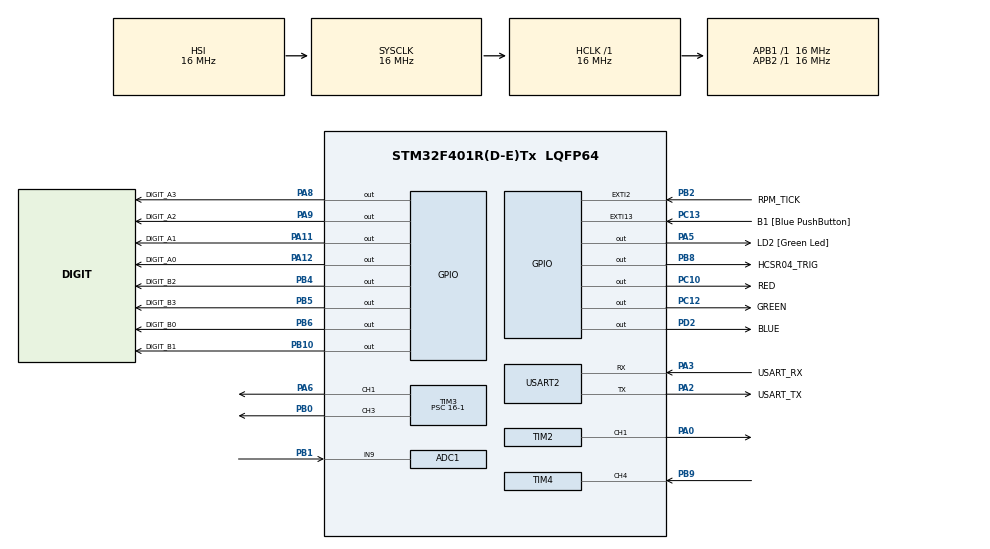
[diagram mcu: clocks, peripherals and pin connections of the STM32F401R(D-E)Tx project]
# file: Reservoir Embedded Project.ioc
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ADC1.Channel-0\#ChannelRegularConversion=ADC_CHANNEL_9
ADC1.NbrOfConversionFlag=1
ADC1.Rank-0\#ChannelRegularConversion=1
ADC1.Resolution=ADC_RESOLUTION_8B
ADC1.SamplingTime-0\#ChannelRegularConversion=ADC_SAMPLETIME_3CYCLES
ADC1.ScanConvMode=ENABLE
ADC1.master=1
Mcu.Family=STM32F4
Mcu.Name=STM32F401R(D-E)Tx
Mcu.Package=LQFP64
NVIC.EXTI15_10_IRQn=true\:0\:0\:false\:false\:true\:true\:true\:true
NVIC.EXTI2_IRQn=true\:0\:0\:false\:false\:true\:true\:true\:true
NVIC.PriorityGroup=NVIC_PRIORITYGROUP_4
NVIC.TIM4_IRQn=true\:0\:0\:false\:false\:true\:true\:true\:true
NVIC.TIM5_IRQn=true\:0\:0\:false\:false\:true\:true\:true\:true
NVIC.USART2_IRQn=true\:0\:0\:false\:false\:true\:true\:true\:true
PA0-WKUP.Signal=S_TIM2_CH1_ETR
PA11.GPIO_Label=DIGIT_A1
PA11.Signal=GPIO_Output
PA12.GPIO_Label=DIGIT_A0
PA12.Signal=GPIO_Output
PA13.GPIO_Label=TMS
PA13.Mode=Trace_Asynchronous_SW
PA13.Signal=SYS_JTMS-SWDIO
PA14.GPIO_Label=TCK
PA14.Mode=Trace_Asynchronous_SW
PA14.Signal=SYS_JTCK-SWCLK
PA2.GPIO_Label=USART_TX
PA2.GPIO_Mode=GPIO_MODE_AF_PP
PA2.GPIO_PuPd=GPIO_NOPULL
PA2.GPIO_Speed=GPIO_SPEED_FREQ_LOW
PA2.Mode=Asynchronous
PA2.Signal=USART2_TX
PA3.GPIO_Label=USART_RX
PA3.GPIO_Mode=GPIO_MODE_AF_PP
PA3.GPIO_PuPd=GPIO_NOPULL
PA3.GPIO_Speed=GPIO_SPEED_FREQ_LOW
PA3.Mode=Asynchronous
PA3.Signal=USART2_RX
PA5.GPIO_Label=LD2 [Green Led]
PA5.GPIO_Mode=GPIO_MODE_OUTPUT_PP
PA5.GPIO_PuPd=GPIO_NOPULL
PA5.GPIO_Speed=GPIO_SPEED_FREQ_LOW
PA5.Signal=GPIO_Output
PA6.Signal=S_TIM3_CH1
PA8.GPIO_Label=DIGIT_A3
PA8.Signal=GPIO_Output
PA9.GPIO_Label=DIGIT_A2
PA9.Signal=GPIO_Output
PB0.Signal=S_TIM3_CH3
PB1.Signal=ADCx_IN9
PB10.GPIO_Label=DIGIT_B1
PB10.Signal=GPIO_Output
PB2.GPIO_Label=RPM_TICK
PB2.Signal=GPXTI2
PB3.GPIO_Label=SWO
PB3.Mode=Trace_Asynchronous_SW
PB3.Signal=SYS_JTDO-SWO
PB4.GPIO_Label=DIGIT_B2
PB4.Signal=GPIO_Output
PB5.GPIO_Label=DIGIT_B3
PB5.Signal=GPIO_Output
PB6.GPIO_Label=DIGIT_B0
PB6.Signal=GPIO_Output
PB8.GPIO_Label=HCSR04_TRIG
PB8.Signal=GPIO_Output
PB9.Signal=S_TIM4_CH4
PC10.GPIO_Label=RED
PC10.Signal=GPIO_Output
PC12.GPIO_Label=GREEN
PC12.Signal=GPIO_Output
PC13-ANTI_TAMP.GPIO_Label=B1 [Blue PushButton]
PC13-ANTI_TAMP.GPIO_ModeDefaultEXTI=GPIO_MODE_IT_FALLING
PC13-ANTI_TAMP.GPIO_PuPd=GPIO_NOPULL
PC13-ANTI_TAMP.Signal=GPXTI13
PC14-OSC32_IN.Mode=LSE-External-Oscillator
PC14-OSC32_IN.Signal=RCC_OSC32_IN
PC15-OSC32_OUT.Mode=LSE-External-Oscillator
PC15-OSC32_OUT.Signal=RCC_OSC32_OUT
PD2.GPIO_Label=BLUE
PD2.Signal=GPIO_Output
PH0\ -\ OSC_IN.Mode=HSE-External-Clock-Source
PH0\ -\ OSC_IN.Signal=RCC_OSC_IN
PH1\ -\ OSC_OUT.Mode=HSE-External-Clock-Source
PH1\ -\ OSC_OUT.Signal=RCC_OSC_OUT
ProjectManager.HeapSize=0x200
ProjectManager.StackSize=0x400
ProjectManager.TargetToolchain=STM32CubeIDE
RCC.48MHZClocksFreq_Value=48000000
RCC.AHBFreq_Value=16000000
RCC.APB1Freq_Value=16000000
RCC.APB1TimFreq_Value=16000000
RCC.APB2Freq_Value=16000000
RCC.APB2TimFreq_Value=16000000
RCC.CortexFreq_Value=16000000
RCC.HCLKFreq_Value=16000000
RCC.HSE_VALUE=8000000
RCC.HSI_VALUE=16000000
RCC.PLLN=336
RCC.PLLP=RCC_PLLP_DIV4
RCC.PLLQ=7
RCC.SYSCLKFreq_VALUE=16000000
RCC.VCOOutputFreq_Value=336000000
SH.ADCx_IN9.0=ADC1_IN9,IN9
SH.S_TIM2_CH1_ETR.0=TIM2_CH1,PWM Generation1 CH1
SH.S_TIM3_CH1.0=TIM3_CH1,PWM Generation1 CH1
SH.S_TIM3_CH3.0=TIM3_CH3,PWM Generation3 CH3
SH.S_TIM4_CH4.0=TIM4_CH4,Input_Capture4_from_TI4
TIM2.AutoReloadPreload=TIM_AUTORELOAD_PRELOAD_ENABLE
TIM2.Channel-PWM\ Generation1\ CH1=TIM_CHANNEL_1
TIM2.Period=20000-1
TIM2.Prescaler=16-1
TIM3.AutoReloadPreload=TIM_AUTORELOAD_PRELOAD_ENABLE
TIM3.Channel-PWM\ Generation1\ CH1=TIM_CHANNEL_1
TIM3.Channel-PWM\ Generation3\ CH3=TIM_CHANNEL_3
TIM3.Period=2000-1
TIM3.Prescaler=16-1
TIM3.Pulse-PWM\ Generation1\ CH1=1200-1
TIM4.Channel-Input_Capture4_from_TI4=TIM_CHANNEL_4
TIM4.ICPolarity_CH4=TIM_INPUTCHANNELPOLARITY_BOTHEDGE
TIM4.Period=65536-1
TIM4.Prescaler=16-1
TIM5.AutoReloadPreload=TIM_AUTORELOAD_PRELOAD_ENABLE
TIM5.Period=12000-1
TIM5.Prescaler=16000-1
USART2.VirtualMode=VM_ASYNC
VP_TIM2_VS_ClockSourceINT.Mode=Internal
VP_TIM3_VS_ClockSourceINT.Mode=Internal
VP_TIM4_VS_ClockSourceINT.Mode=Internal
VP_TIM5_VS_ClockSourceINT.Mode=Internal
board=NUCLEO-F401RE

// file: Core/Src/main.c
/* USER CODE BEGIN Header */
/**
 ******************************************************************************
 * @file    main.c
 * @brief   Main program body
 ******************************************************************************
 *
 * STM32 IRRIGATION CONTROLLER
 * ---------------------------
 * Embedded controller for an irrigation system. Manages a single pump
 * and servo-driven distributor to fill a reservoir from an underground spring
 * and irrigate three terraced zones at different elevations over a 24-hour
 * cycle.
 *
 * Target: STM32 Nucleo-F401RE (ARM Cortex-M4, 84 MHz)
 *
 *
 * SYSTEM OVERVIEW
 * ---------------
 * The system runs as a two-mode state machine:
 *
 *   SETUP MODE:  Triggered by reset (black button). User configures pipeline
 *                assignments, PWM speed options, and start/stop hours for
 *                each of 4 pipelines (1 inlet + 3 zones) over UART. Mode LED
 *                flashes; system waits for B1 (blue button) to advance.
 *
 *   RUN MODE:    Triggered by B1. Scaled wall clock starts at hour 0 and
 *                advances 300x faster than real time. Each hour, the active pipeline
 *                is selected from the schedule, the servo and RGB LED update, the motor
 *                drives at the configured PWM, and reservoir depth + RPM
 *                are sampled and logged to UART. Halts at hour 24 or on a
 *                reservoir-empty fault.
 *
 * PERIPHERAL MAP
 * --------------
 *   TIM2 CH1   - Servo PWM (50 Hz, 1-2 ms pulse width)
 *   TIM3 CH1   - DC motor PWM, forward direction (via L9110)
 *   TIM3 CH3   - DC motor PWM, reverse direction (via L9110, inlet only)
 *   TIM4 CH4   - HC-SR04 echo input capture (both edges)
 *   TIM5       - Scaled wall-clock tick (12 s real = 1 simulated hour)
 *   ADC1 CH9   - Potentiometer (8-bit) for manual inlet speed control
 *   USART2     - Terminal I/O at 115200 baud, 8N1
 *   EXTI       - RPM_TICK pin: optical encoder pulse counter
 *   GPIO       - 7-segment digit drive (PA + PB), RGB LED (PC + PD),
 *                LD2 mode LED, B1 user button, HC-SR04 trigger
 *
 ******************************************************************************
/* USER CODE END Header */
#include "main.h"

/* USER CODE BEGIN Includes */
#include <stdio.h>
#include <string.h>
/* USER CODE END Includes */

/* USER CODE BEGIN PTD */
#define LED_RED_ON()     HAL_GPIO_WritePin(RED_GPIO_Port, RED_Pin, GPIO_PIN_SET)
#define LED_RED_OFF()    HAL_GPIO_WritePin(RED_GPIO_Port, RED_Pin, GPIO_PIN_RESET)
#define LED_GREEN_ON()   HAL_GPIO_WritePin(GREEN_GPIO_Port, GREEN_Pin, GPIO_PIN_SET)
#define LED_GREEN_OFF()  HAL_GPIO_WritePin(GREEN_GPIO_Port, GREEN_Pin, GPIO_PIN_RESET)
#define LED_BLUE_ON()    HAL_GPIO_WritePin(BLUE_GPIO_Port, BLUE_Pin, GPIO_PIN_SET)
#define LED_BLUE_OFF()   HAL_GPIO_WritePin(BLUE_GPIO_Port, BLUE_Pin, GPIO_PIN_RESET)
/* USER CODE END PTD */

/* USER CODE BEGIN PD */

//Single byte to store UART input
uint8_t byte = 0;

/* USER CODE END PD */

ADC_HandleTypeDef hadc1;

TIM_HandleTypeDef htim2;
TIM_HandleTypeDef htim3;
TIM_HandleTypeDef htim4;
TIM_HandleTypeDef htim5;

UART_HandleTypeDef huart2;

/* USER CODE BEGIN PV */
char msg[100];          // UART message buffer

//Pipeline Variables
int pipeA = 0;
int pipeB = 0;
int pipeC = 0;
int pipeD = 0;

//Pump PWN Variables
int pwmA = 0;
int pwmB = 0;
int pwmC = 0;
int pwmD = 0;

//First hour variables
int firstA = 0;
int firstB = 0;
int firstC = 0;
int firstD = 0;

//Last hour variables
int lastA = 0;
int lastB = 0;
int lastC = 0;
int lastD = 0;

char dig10 = 0;
char dig1 = 0;

uint8_t txd_msg_buffer[64] = {0};

volatile uint8_t clock_hours = 0;
volatile uint8_t wall_clock_hr_update_flag = 0;

uint16_t servo_angle_0 = 500; // Pipeline A - 0 degrees
uint16_t servo_angle_1 = 1000; // Pipeline B - 45 degrees
uint16_t servo_angle_2 = 1500; // Pipeline C - 90 degrees
uint16_t servo_angle_3 = 2000; // Pipeline D - 135 degrees

uint16_t motor_pwm_values[4] = {0, 1400, 1700, 2000}; // Adjust for motor speed levels
volatile uint32_t rpm_tick_count = 0;
volatile uint32_t measured_rpm = 0;

/* USER CODE END PV */

void SystemClock_Config(void);
static void MX_GPIO_Init(void);
static void MX_USART2_UART_Init(void);
static void MX_ADC1_Init(void);
static void MX_TIM2_Init(void);
static void MX_TIM3_Init(void);
static void MX_TIM4_Init(void);
static void MX_TIM5_Init(void);
/* USER CODE BEGIN PFP */
void Enter_Setup_Mode(void);
void Enter_Run_Mode(void);
int Measure_Distance(void);
void HCSR04_Trigger(void);
void DIGITS_Display(uint8_t DIGIT_A, uint8_t DIGIT_B);
void RGB_SetColor(uint8_t pipeline);
static void UpdateMotor(uint8_t current_pipeline, uint8_t active_pwm);
void Resevoir_Empty(void);
/* USER CODE END PFP */

/* USER CODE BEGIN 0 */
uint8_t rcv_intv_flag = 0;

volatile uint8_t hcsr04_Rx_flag = 0;
volatile uint8_t first_edge = 0;
volatile uint16_t time_edge1 = 0;
volatile uint16_t time_edge2 = 0;

float distance_cm = 0;
float distance_percent = 0;

//ENTERING SETUP MODE
void Enter_Setup_Mode(void)
{
    LED_BLUE_OFF();
    LED_GREEN_OFF();
    LED_RED_OFF();

    DIGITS_Display(0,0);

    TIM3 -> CCR1 = 0;
	TIM3 -> CCR3 = 0;

    HAL_UART_Transmit(&huart2, (uint8_t*)"\r\n=== SETUP MODE ===\r\n", 24, 1000);
    HAL_UART_Transmit(&huart2, (uint8_t*)"Enter SETUP Parameters:\r\n", 26, 1000);

    // Ask for Pipeline and PWM inputs ----------------------------------------
    sprintf((char*)txd_msg_buffer,"\r\nPipeline A (options 0 to 3): ");
    rcv_intv_flag = 0;
    HAL_UART_Receive_IT(&huart2, &byte, 1);
    HAL_UART_Transmit(&huart2, txd_msg_buffer, strlen((char*)txd_msg_buffer), 1000);
    while (rcv_intv_flag == 0) {}
    pipeA = byte - '0';

    sprintf((char*)txd_msg_buffer,"\r\nPump pwm A (options 0 to 3): ");
    rcv_intv_flag = 0;
    HAL_UART_Receive_IT(&huart2, &byte, 1);
    HAL_UART_Transmit(&huart2, txd_msg_buffer, strlen((char*)txd_msg_buffer), 1000);
    while (rcv_intv_flag == 0) {}
    pwmA = byte - '0';

    sprintf((char*)txd_msg_buffer,"\r\nPipeline B (options 0 to 3): ");
    rcv_intv_flag = 0;
    HAL_UART_Receive_IT(&huart2, &byte, 1);
    HAL_UART_Transmit(&huart2, txd_msg_buffer, strlen((char*)txd_msg_buffer), 1000);
    while (rcv_intv_flag == 0) {}
    pipeB = byte - '0';

    sprintf((char*)txd_msg_buffer,"\r\nPump pwm B (options 0 to 3): ");
    rcv_intv_flag = 0;
    HAL_UART_Receive_IT(&huart2, &byte, 1);
    HAL_UART_Transmit(&huart2, txd_msg_buffer, strlen((char*)txd_msg_buffer), 1000);
    while (rcv_intv_flag == 0) {}
    pwmB = byte - '0';

    sprintf((char*)txd_msg_buffer,"\r\nPipeline C (options 0 to 3): ");
    rcv_intv_flag = 0;
    HAL_UART_Receive_IT(&huart2, &byte, 1);
    HAL_UART_Transmit(&huart2, txd_msg_buffer, strlen((char*)txd_msg_buffer), 1000);
    while (rcv_intv_flag == 0) {}
    pipeC = byte - '0';

    sprintf((char*)txd_msg_buffer,"\r\nPump pwm C (options 0 to 3): ");
    rcv_intv_flag = 0;
    HAL_UART_Receive_IT(&huart2, &byte, 1);
    HAL_UART_Transmit(&huart2, txd_msg_buffer, strlen((char*)txd_msg_buffer), 1000);
    while (rcv_intv_flag == 0) {}
    pwmC = byte - '0';

    sprintf((char*)txd_msg_buffer,"\r\nPipeline D (options 0 to 3): ");
    rcv_intv_flag = 0;
    HAL_UART_Receive_IT(&huart2, &byte, 1);
    HAL_UART_Transmit(&huart2, txd_msg_buffer, strlen((char*)txd_msg_buffer), 1000);
    while (rcv_intv_flag == 0) {}
    pipeD = byte - '0';

    sprintf((char*)txd_msg_buffer,"\r\nPump pwm D (options 0 to 3): ");
    rcv_intv_flag = 0;
    HAL_UART_Receive_IT(&huart2, &byte, 1);
    HAL_UART_Transmit(&huart2, txd_msg_buffer, strlen((char*)txd_msg_buffer), 1000);
    while (rcv_intv_flag == 0) {}
    pwmD = byte - '0';

    //--------------------------------------------------------------------------------------

    //Ask for first and last hour of each pipeline
    sprintf((char*)txd_msg_buffer, "\r\nPipeline 0 Pump FIRST HOUR (options: 00 to 23): ");
    rcv_intv_flag = 0;
	HAL_UART_Receive_IT(&huart2, &byte, 1);
	HAL_UART_Transmit(&huart2, txd_msg_buffer, strlen((char*)txd_msg_buffer), 1000);
	while (rcv_intv_flag == 0) {}
	dig10 = byte;
	rcv_intv_flag = 0;
	rcv_intv_flag = 0;
	HAL_UART_Receive_IT(&huart2, &byte, 1);
	while (rcv_intv_flag == 0) {}
	dig1 = byte;
	rcv_intv_flag = 0;

	firstA = (dig10-'0')*10 + (dig1 - '0');

    sprintf((char*)txd_msg_buffer, "\r\nPipeline 0 Pump LAST HOUR (options: 00 to 23): ");
    rcv_intv_flag = 0;
	HAL_UART_Receive_IT(&huart2, &byte, 1);
	HAL_UART_Transmit(&huart2, txd_msg_buffer, strlen((char*)txd_msg_buffer), 1000);
	while (rcv_intv_flag == 0) {}
	dig10 = byte;
	rcv_intv_flag = 0;
	rcv_intv_flag = 0;
	HAL_UART_Receive_IT(&huart2, &byte, 1);
	while (rcv_intv_flag == 0) {}
	dig1 = byte;
	rcv_intv_flag = 0;

	lastA = (dig10-'0')*10 + (dig1 - '0');

    sprintf((char*)txd_msg_buffer, "\r\nPipeline 1 Pump FIRST HOUR (options: 00 to 23): ");
    rcv_intv_flag = 0;
	HAL_UART_Receive_IT(&huart2, &byte, 1);
	HAL_UART_Transmit(&huart2, txd_msg_buffer, strlen((char*)txd_msg_buffer), 1000);
	while (rcv_intv_flag == 0) {}
	dig10 = byte;
	rcv_intv_flag = 0;
	rcv_intv_flag = 0;
	HAL_UART_Receive_IT(&huart2, &byte, 1);
	while (rcv_intv_flag == 0) {}
	dig1 = byte;
	rcv_intv_flag = 0;

	firstB = (dig10-'0')*10 + (dig1 - '0');

    sprintf((char*)txd_msg_buffer, "\r\nPipeline 1 Pump LAST HOUR (options: 00 to 23): ");
    rcv_intv_flag = 0;
	HAL_UART_Receive_IT(&huart2, &byte, 1);
	HAL_UART_Transmit(&huart2, txd_msg_buffer, strlen((char*)txd_msg_buffer), 1000);
	while (rcv_intv_flag == 0) {}
	dig10 = byte;
	rcv_intv_flag = 0;
	rcv_intv_flag = 0;
	HAL_UART_Receive_IT(&huart2, &byte, 1);
	while (rcv_intv_flag == 0) {}
	dig1 = byte;
	rcv_intv_flag = 0;

	lastB = (dig10-'0')*10 + (dig1 - '0');

	sprintf((char*)txd_msg_buffer, "\r\nPipeline 2 Pump FIRST HOUR (options: 00 to 23): ");
    rcv_intv_flag = 0;
	HAL_UART_Receive_IT(&huart2, &byte, 1);
	HAL_UART_Transmit(&huart2, txd_msg_buffer, strlen((char*)txd_msg_buffer), 1000);
	while (rcv_intv_flag == 0) {}
	dig10 = byte;
	rcv_intv_flag = 0;
	rcv_intv_flag = 0;
	HAL_UART_Receive_IT(&huart2, &byte, 1);
	while (rcv_intv_flag == 0) {}
	dig1 = byte;
	rcv_intv_flag = 0;

	firstC = (dig10-'0')*10 + (dig1 - '0');

	sprintf((char*)txd_msg_buffer, "\r\nPipeline 2 Pump LAST HOUR (options: 00 to 23): ");
    rcv_intv_flag = 0;
	HAL_UART_Receive_IT(&huart2, &byte, 1);
	HAL_UART_Transmit(&huart2, txd_msg_buffer, strlen((char*)txd_msg_buffer), 1000);
	while (rcv_intv_flag == 0) {}
	dig10 = byte;
	rcv_intv_flag = 0;
	rcv_intv_flag = 0;
	HAL_UART_Receive_IT(&huart2, &byte, 1);
	while (rcv_intv_flag == 0) {}
	dig1 = byte;
	rcv_intv_flag = 0;

	lastC = (dig10-'0')*10 + (dig1 - '0');

	sprintf((char*)txd_msg_buffer, "\r\nPipeline 3 Pump FIRST HOUR (options: 00 to 23): ");
    rcv_intv_flag = 0;
	HAL_UART_Receive_IT(&huart2, &byte, 1);
	HAL_UART_Transmit(&huart2, txd_msg_buffer, strlen((char*)txd_msg_buffer), 1000);
	while (rcv_intv_flag == 0) {}
	dig10 = byte;
	rcv_intv_flag = 0;
	rcv_intv_flag = 0;
	HAL_UART_Receive_IT(&huart2, &byte, 1);
	while (rcv_intv_flag == 0) {}
	dig1 = byte;
	rcv_intv_flag = 0;

	firstD = (dig10-'0')*10 + (dig1 - '0');

	sprintf((char*)txd_msg_buffer, "\r\nPipeline 3 Pump LAST HOUR (options: 00 to 23): ");
    rcv_intv_flag = 0;
	HAL_UART_Receive_IT(&huart2, &byte, 1);
	HAL_UART_Transmit(&huart2, txd_msg_buffer, strlen((char*)txd_msg_buffer), 1000);
	while (rcv_intv_flag == 0) {}
	dig10 = byte;
	rcv_intv_flag = 0;
	rcv_intv_flag = 0;
	HAL_UART_Receive_IT(&huart2, &byte, 1);
	while (rcv_intv_flag == 0) {}
	dig1 = byte;
	rcv_intv_flag = 0;

	lastD = (dig10-'0')*10 + (dig1 - '0');

	//------------------------------------------------------------------------
	//Output all the information and wait for user to press blue button
	sprintf((char*)txd_msg_buffer, "\t\n\nPrinting SETUP Parameters\n\n");
	HAL_UART_Transmit(&huart2, txd_msg_buffer, strlen((char*)txd_msg_buffer), 1000);

	sprintf((char*)txd_msg_buffer, "\n\rCURRENT WALL CLOCK HOUR 0\n");
	HAL_UART_Transmit(&huart2, txd_msg_buffer, strlen((char*)txd_msg_buffer), 1000);

	sprintf((char*)txd_msg_buffer, "\n\rPipeline: %d ", pipeA);
	HAL_UART_Transmit(&huart2, txd_msg_buffer, strlen((char*)txd_msg_buffer), 1000);

	sprintf((char*)txd_msg_buffer, "Pump PWM: %d ", pwmA);
	HAL_UART_Transmit(&huart2, txd_msg_buffer, strlen((char*)txd_msg_buffer), 1000);

	sprintf((char*)txd_msg_buffer, "Pump FIRST Hour: %d Pump LAST Hour %d\n", firstA, lastA);
	HAL_UART_Transmit(&huart2, txd_msg_buffer, strlen((char*)txd_msg_buffer), 1000);

	sprintf((char*)txd_msg_buffer, "\n\rPipeline: %d ", pipeB);
	HAL_UART_Transmit(&huart2, txd_msg_buffer, strlen((char*)txd_msg_buffer), 1000);

	sprintf((char*)txd_msg_buffer, "Pump PWM: %d ", pwmB);
	HAL_UART_Transmit(&huart2, txd_msg_buffer, strlen((char*)txd_msg_buffer), 1000);

	sprintf((char*)txd_msg_buffer, "Pump FIRST Hour: %d Pump LAST Hour %d\n", firstB, lastB);
	HAL_UART_Transmit(&huart2, txd_msg_buffer, strlen((char*)txd_msg_buffer), 1000);

	sprintf((char*)txd_msg_buffer, "\n\rPipeline: %d ", pipeC);
	HAL_UART_Transmit(&huart2, txd_msg_buffer, strlen((char*)txd_msg_buffer), 1000);

	sprintf((char*)txd_msg_buffer, "Pump PWM: %d ", pwmC);
	HAL_UART_Transmit(&huart2, txd_msg_buffer, strlen((char*)txd_msg_buffer), 1000);

	sprintf((char*)txd_msg_buffer, "Pump FIRST Hour: %d Pump LAST Hour %d\n", firstC, lastC);
	HAL_UART_Transmit(&huart2, txd_msg_buffer, strlen((char*)txd_msg_buffer), 1000);

	sprintf((char*)txd_msg_buffer, "\n\rPipeline: %d ", pipeD);
	HAL_UART_Transmit(&huart2, txd_msg_buffer, strlen((char*)txd_msg_buffer), 1000);

	sprintf((char*)txd_msg_buffer, "Pump PWM: %d ", pwmD);
	HAL_UART_Transmit(&huart2, txd_msg_buffer, strlen((char*)txd_msg_buffer), 1000);

	sprintf((char*)txd_msg_buffer, "Pump FIRST Hour: %d Pump LAST Hour %d\n", firstD, lastD);
	HAL_UART_Transmit(&huart2, txd_msg_buffer, strlen((char*)txd_msg_buffer), 1000);

	sprintf((char*)txd_msg_buffer, "\n\n\rSETUP is done. Press Blue Button for RUN MODE");
	HAL_UART_Transmit(&huart2, txd_msg_buffer, strlen((char*)txd_msg_buffer), 1000);

	while(1){
		GPIO_PinState buttonState = HAL_GPIO_ReadPin(GPIOC, GPIO_PIN_13);

		HAL_GPIO_WritePin(GPIOA, GPIO_PIN_5, GPIO_PIN_SET);		//LED is ON
		HAL_Delay(100);
		HAL_GPIO_WritePin(GPIOA, GPIO_PIN_5, GPIO_PIN_RESET);	//LED is OFF
		HAL_Delay(100);

		if(buttonState == GPIO_PIN_RESET){
			break;
		}
	}

}

//Send pulse
void HCSR04_Trigger(void)
{
    HAL_GPIO_WritePin(HCSR04_TRIG_GPIO_Port, HCSR04_TRIG_Pin, GPIO_PIN_SET);
    for (int j = 0; j < 15; j++) {};  // 10µs pulse
    HAL_GPIO_WritePin(HCSR04_TRIG_GPIO_Port, HCSR04_TRIG_Pin, GPIO_PIN_RESET);
}

//------------------MEASURE DISTANCE AS PERCENTAGE-----------------------
int Measure_Distance(void) {

	uint16_t time_diff = 0;
	hcsr04_Rx_flag = 0;
	first_edge = 0;
	time_edge1 = 0;
	time_edge2 = 0;

	HCSR04_Trigger();

	//Wait for measurement
	while (hcsr04_Rx_flag == 0) {}

	//Compute pulse difference
	if (time_edge2 > time_edge1)
	time_diff = time_edge2 - time_edge1;

	//Convert to cm (based on datasheet: time/58)
	distance_cm = 88 - (time_diff / 58.0f);
	if(distance_cm < 0.0f){
		distance_cm = 0.0f;
	}

	//Compute percentage from max distance
	distance_percent = (distance_cm / 88.0f) * 100.0f;

	return (uint16_t)distance_percent;
}

void Set_Servo_Angle(uint16_t pulse_width)
{
    __HAL_TIM_SET_COMPARE(&htim2, TIM_CHANNEL_1, pulse_width);
}

//-------------------DISPLAY DISTANCE PERCENTAGE ON 7 SEG----------------
void DIGITS_Display(uint8_t DIGIT_A, uint8_t DIGIT_B) {
    DIGIT_A &= 0x0F;
    DIGIT_B &= 0x0F;

    // Pipeline A (tens digit) - Port A
    HAL_GPIO_WritePin(GPIOA, DIGIT_A0_Pin, (DIGIT_A & 0x1) ? GPIO_PIN_SET : GPIO_PIN_RESET);
    HAL_GPIO_WritePin(GPIOA, DIGIT_A1_Pin, (DIGIT_A & 0x2) ? GPIO_PIN_SET : GPIO_PIN_RESET);
    HAL_GPIO_WritePin(GPIOA, DIGIT_A2_Pin, (DIGIT_A & 0x4) ? GPIO_PIN_SET : GPIO_PIN_RESET);
    HAL_GPIO_WritePin(GPIOA, DIGIT_A3_Pin, (DIGIT_A & 0x8) ? GPIO_PIN_SET : GPIO_PIN_RESET);

    // Pipeline B (ones digit) - Port B
    HAL_GPIO_WritePin(GPIOB, DIGIT_B0_Pin, (DIGIT_B & 0x1) ? GPIO_PIN_SET : GPIO_PIN_RESET);
    HAL_GPIO_WritePin(GPIOB, DIGIT_B1_Pin, (DIGIT_B & 0x2) ? GPIO_PIN_SET : GPIO_PIN_RESET);
    HAL_GPIO_WritePin(GPIOB, DIGIT_B2_Pin, (DIGIT_B & 0x4) ? GPIO_PIN_SET : GPIO_PIN_RESET);
    HAL_GPIO_WritePin(GPIOB, DIGIT_B3_Pin, (DIGIT_B & 0x8) ? GPIO_PIN_SET : GPIO_PIN_RESET);
}

//---------------------SET RBG LED COLOR---------------------------------
void RGB_SetColor(uint8_t pipeline)
{
    // Turn all LEDs OFF first
    LED_RED_OFF();
    LED_GREEN_OFF();
    LED_BLUE_OFF();

    if (pipeline == 0)
    {
        LED_RED_ON();                   // Pipeline 0 PURPLE
        LED_BLUE_ON();
    }
    else if (pipeline == 1)
    {
        LED_RED_ON();                 // Pipeline 1 RED
    }
    else if (pipeline == 2)
    {
        LED_GREEN_ON();                  // Pipeline 2 GREEN
    }
    else if (pipeline == 3)
    {
        LED_BLUE_ON();                 // Pipeline 3 BLUE
    }
    else
    {
        LED_RED_OFF();
        LED_GREEN_OFF();
        LED_BLUE_OFF();

    }
}

//----------------------UPDATE MOTOR CONTINUALLY-------------------------
static void UpdateMotor(uint8_t current_pipeline, uint8_t active_pwm){
	if (current_pipeline == 0 && active_pwm == 0)
		{
		// Start conversion, wait briefly, read value
		HAL_ADC_Start(&hadc1);

		if (HAL_ADC_PollForConversion(&hadc1, 10) == HAL_OK) {
			uint32_t pot_value = HAL_ADC_GetValue(&hadc1); // 0-255

			// Map to TIM3 CCR range (TIM3 period = 2000)
			uint16_t scaled_pwm = (uint16_t)((pot_value * 2000UL) / 255UL);

			// Apply to TIM3 channel 3
			TIM3->CCR3 = scaled_pwm;

			// ensure other channel is off
			TIM3->CCR1 = 0;
		}
		HAL_ADC_Stop(&hadc1);
	}
}

//---------------------SPECIAL EVENT------------------------------------
void Reservoir_Empty(void) {
		//Stop motion
	    TIM3->CCR1 = 0;
	    TIM3->CCR3 = 0;

	    //Board LED off
	    HAL_GPIO_WritePin(GPIOA, GPIO_PIN_5, GPIO_PIN_RESET);

		sprintf((char*)txd_msg_buffer, "\r\n Reservoir is EMPTY! \r\n");
		HAL_UART_Transmit(&huart2, txd_msg_buffer, strlen((char*)txd_msg_buffer), 1000);

	    //Flash white
	    while (1)
	    {
	        //Digits display 00
	        DIGITS_Display(0,0);

	        LED_RED_ON();
	        LED_GREEN_ON();
	        LED_BLUE_ON();
	        HAL_Delay(250);
	        LED_RED_OFF();
	        LED_GREEN_OFF();
	        LED_BLUE_OFF();
	        HAL_Delay(250);

	    }
}

//-------------------ENTER RUN MODE--------------------------------------
void Enter_Run_Mode(void){
	HAL_TIM_Base_Start(&htim4);         // Start timing base
	HAL_TIM_IC_Start_IT(&htim4, TIM_CHANNEL_4);  // Enable input capture

	HAL_TIM_Base_Start_IT(&htim5);

	uint8_t current_pipeline = 0;  // Track active pipeline
	uint8_t active_pwm = pwmA;

	uint8_t current_fill = Measure_Distance();	//Get the fill level
	uint8_t tens = current_fill / 10;
	uint8_t ones = current_fill % 10;
	DIGITS_Display(tens, ones);

	sprintf((char*)txd_msg_buffer, "\r\n\nCLOCK : PIPE : PWM : RPM : DEPTH :\r\n");
	HAL_UART_Transmit(&huart2, txd_msg_buffer, strlen((char*)txd_msg_buffer), 1000);

	sprintf((char*)txd_msg_buffer, "---------------------------------");
	HAL_UART_Transmit(&huart2, txd_msg_buffer, strlen((char*)txd_msg_buffer), 1000);

	if (clock_hours >= firstA && clock_hours <= lastA) {
		current_pipeline = pipeA;
		active_pwm = pwmA;
	}
	else if (clock_hours >= firstB && clock_hours <= lastB) {
		current_pipeline = pipeB;
		active_pwm = pwmB;
	}
	else if (clock_hours >= firstC && clock_hours <= lastC) {
		current_pipeline = pipeC;
		active_pwm = pwmC;
	}
	else if (clock_hours >= firstD && clock_hours <= lastD) {
		current_pipeline = pipeD;
		active_pwm = pwmD;
	}
	else {
		current_pipeline = 255;
		active_pwm = 0;
	}

	RGB_SetColor(current_pipeline);

	//Control motor & servo for hour 0
	if(current_pipeline == 255){
		TIM3->CCR1 = 0;
		TIM3->CCR3 = 0;
	}
	else if(active_pwm != 0 && current_pipeline != 0){
		TIM3->CCR1 = motor_pwm_values[active_pwm];
		TIM3->CCR3 = 0;
	}
	else if (current_pipeline == 0){
		if(active_pwm == 0){
			UpdateMotor(current_pipeline, active_pwm);
		}
		else{
			TIM3->CCR1 = 0;
			TIM3->CCR3 = motor_pwm_values[active_pwm];
		}
	}

	//Calculate RPM after short delay for stable reading
	HAL_Delay(1000);
	measured_rpm = (rpm_tick_count / 4);
	rpm_tick_count = 0;

	if(current_pipeline == 255){
		sprintf((char*)txd_msg_buffer, "\r %d    :      :     : 0    :  %d  :\r\n",
				clock_hours, current_fill);
	} else {
		sprintf((char*)txd_msg_buffer, "\r %d    :  %d   :  %d   :  %d   :   %d  :\r\n",
				clock_hours, current_pipeline, active_pwm, measured_rpm, current_fill);
	}
	HAL_UART_Transmit(&huart2, txd_msg_buffer, strlen((char*)txd_msg_buffer), 1000);

	//Check if reservoir is empty
	if (current_fill <= 0)
	{
		Reservoir_Empty();
	}

	//Set servo for hour 0
	if(current_pipeline == 0){Set_Servo_Angle(servo_angle_0);}
	else if(current_pipeline == 1){Set_Servo_Angle(servo_angle_1);}
	else if(current_pipeline == 2){Set_Servo_Angle(servo_angle_2);}
	else if(current_pipeline == 3){Set_Servo_Angle(servo_angle_3);}

	while (clock_hours < 24)
	{
		if(active_pwm == 0 && current_pipeline == 0){
			UpdateMotor(current_pipeline, active_pwm);
		}

		if (wall_clock_hr_update_flag){
			wall_clock_hr_update_flag = 0;

			uint8_t current_fill = Measure_Distance();

			uint8_t tens = current_fill / 10;
			uint8_t ones = current_fill % 10;
			DIGITS_Display(tens, ones);

			if (clock_hours >= firstA && clock_hours <= lastA) {
				current_pipeline = pipeA;
				active_pwm = pwmA;
			}
			else if (clock_hours >= firstB && clock_hours <= lastB) {
				current_pipeline = pipeB;
				active_pwm = pwmB;
			}
			else if (clock_hours >= firstC && clock_hours <= lastC) {
				current_pipeline = pipeC;
				active_pwm = pwmC;
			}
			else if (clock_hours >= firstD && clock_hours <= lastD) {
				current_pipeline = pipeD;
				active_pwm = pwmD;
			}
			else {
				current_pipeline = 255;
				active_pwm = 0;
			}

			RGB_SetColor(current_pipeline);

			if(current_pipeline == 255){
				TIM3 -> CCR1 = 0;
				TIM3 -> CCR3 = 0;
			}
			if(active_pwm != 0 && current_pipeline != 0){
				TIM3 -> CCR1 = motor_pwm_values[active_pwm];
				TIM3 -> CCR3 = 0;
			}
			else if (current_pipeline == 0 && active_pwm != 0){
				TIM3 -> CCR1 = 0;
				TIM3 -> CCR3 = motor_pwm_values[active_pwm];
			}

			HAL_Delay(1000);

			measured_rpm = (rpm_tick_count / 4);
			rpm_tick_count = 0;

			if(current_pipeline == 255){
				sprintf((char*)txd_msg_buffer, "\r %d    :      :     : 0    :  %d  :\r\n", clock_hours, current_fill);
				HAL_UART_Transmit(&huart2, txd_msg_buffer, strlen((char*)txd_msg_buffer), 1000);
			} else {
				sprintf((char*)txd_msg_buffer, "\r %d    :  %d   :  %d   :  %d   :   %d  :\r\n", clock_hours, current_pipeline, active_pwm, measured_rpm, current_fill);
				HAL_UART_Transmit(&huart2, txd_msg_buffer, strlen((char*)txd_msg_buffer), 1000);
			}

			//Check if reservoir is empty
			if (current_fill <= 0)
			{
				Reservoir_Empty();
			}

			if(current_pipeline == 0){Set_Servo_Angle(servo_angle_0);}
			else if(current_pipeline == 1){Set_Servo_Angle(servo_angle_1);}
			else if(current_pipeline == 2){Set_Servo_Angle(servo_angle_2);}
			else if(current_pipeline == 3){Set_Servo_Angle(servo_angle_3);}
		}

	}
	sprintf((char*)txd_msg_buffer, "\r\n irrigation complete!\r\n");
	HAL_UART_Transmit(&huart2, txd_msg_buffer, strlen((char*)txd_msg_buffer), 1000);
}

/* USER CODE END 0 */

int main(void)
{

  /* MCU Configuration--------------------------------------------------------*/

  /* Reset of all peripherals, Initializes the Flash interface and the Systick. */
  HAL_Init();

  /* Configure the system clock */
  SystemClock_Config();

  /* Initialize all configured peripherals */
  MX_GPIO_Init();
  MX_USART2_UART_Init();
  MX_ADC1_Init();
  MX_TIM2_Init();
  MX_TIM3_Init();
  MX_TIM4_Init();
  MX_TIM5_Init();
  /* USER CODE BEGIN 2 */
  HAL_TIM_Base_Init(&htim4);
  HAL_TIM_Base_Start(&htim4);
  HAL_TIM_IC_Start_IT(&htim4, TIM_CHANNEL_4);
  HAL_TIM_PWM_Start(&htim2, TIM_CHANNEL_1);
  HAL_TIM_PWM_Start(&htim3, TIM_CHANNEL_1);
  HAL_TIM_PWM_Start(&htim3, TIM_CHANNEL_3);

  Enter_Setup_Mode();
  HAL_GPIO_WritePin(GPIOA, GPIO_PIN_5, GPIO_PIN_SET);		//LED is ON
  Enter_Run_Mode();
  /* USER CODE END 2 */

  /* Infinite loop */
  while (1)
  {

  }
}

void SystemClock_Config(void)
{
  RCC_OscInitTypeDef RCC_OscInitStruct = {0};
  RCC_ClkInitTypeDef RCC_ClkInitStruct = {0};

  /** Configure the main internal regulator output voltage
  */
  __HAL_RCC_PWR_CLK_ENABLE();
  __HAL_PWR_VOLTAGESCALING_CONFIG(PWR_REGULATOR_VOLTAGE_SCALE2);

  /** Initializes the RCC Oscillators according to the specified parameters
  * in the RCC_OscInitTypeDef structure.
  */
  RCC_OscInitStruct.OscillatorType = RCC_OSCILLATORTYPE_HSI;
  RCC_OscInitStruct.HSIState = RCC_HSI_ON;
  RCC_OscInitStruct.HSICalibrationValue = RCC_HSICALIBRATION_DEFAULT;
  RCC_OscInitStruct.PLL.PLLState = RCC_PLL_NONE;
  if (HAL_RCC_OscConfig(&RCC_OscInitStruct) != HAL_OK)
  {
    Error_Handler();
  }

  /** Initializes the CPU, AHB and APB buses clocks
  */
  RCC_ClkInitStruct.ClockType = RCC_CLOCKTYPE_HCLK|RCC_CLOCKTYPE_SYSCLK
                              |RCC_CLOCKTYPE_PCLK1|RCC_CLOCKTYPE_PCLK2;
  RCC_ClkInitStruct.SYSCLKSource = RCC_SYSCLKSOURCE_HSI;
  RCC_ClkInitStruct.AHBCLKDivider = RCC_SYSCLK_DIV1;
  RCC_ClkInitStruct.APB1CLKDivider = RCC_HCLK_DIV1;
  RCC_ClkInitStruct.APB2CLKDivider = RCC_HCLK_DIV1;

  if (HAL_RCC_ClockConfig(&RCC_ClkInitStruct, FLASH_LATENCY_0) != HAL_OK)
  {
    Error_Handler();
  }
}

static void MX_ADC1_Init(void)
{

  ADC_ChannelConfTypeDef sConfig = {0};

  /** Configure the global features of the ADC (Clock, Resolution, Data Alignment and number of conversion)
  */
  hadc1.Instance = ADC1;
  hadc1.Init.ClockPrescaler = ADC_CLOCK_SYNC_PCLK_DIV2;
  hadc1.Init.Resolution = ADC_RESOLUTION_8B;
  hadc1.Init.ScanConvMode = ENABLE;
  hadc1.Init.ContinuousConvMode = DISABLE;
  hadc1.Init.DiscontinuousConvMode = DISABLE;
  hadc1.Init.ExternalTrigConvEdge = ADC_EXTERNALTRIGCONVEDGE_NONE;
  hadc1.Init.ExternalTrigConv = ADC_SOFTWARE_START;
  hadc1.Init.DataAlign = ADC_DATAALIGN_RIGHT;
  hadc1.Init.NbrOfConversion = 1;
  hadc1.Init.DMAContinuousRequests = DISABLE;
  hadc1.Init.EOCSelection = ADC_EOC_SINGLE_CONV;
  if (HAL_ADC_Init(&hadc1) != HAL_OK)
  {
    Error_Handler();
  }

  /** Configure for the selected ADC regular channel its corresponding rank in the sequencer and its sample time.
  */
  sConfig.Channel = ADC_CHANNEL_9;
  sConfig.Rank = 1;
  sConfig.SamplingTime = ADC_SAMPLETIME_3CYCLES;
  if (HAL_ADC_ConfigChannel(&hadc1, &sConfig) != HAL_OK)
  {
    Error_Handler();
  }

}

static void MX_TIM2_Init(void)
{

  TIM_ClockConfigTypeDef sClockSourceConfig = {0};
  TIM_MasterConfigTypeDef sMasterConfig = {0};
  TIM_OC_InitTypeDef sConfigOC = {0};

  htim2.Instance = TIM2;
  htim2.Init.Prescaler = 16-1;
  htim2.Init.CounterMode = TIM_COUNTERMODE_UP;
  htim2.Init.Period = 20000-1;
  htim2.Init.ClockDivision = TIM_CLOCKDIVISION_DIV1;
  htim2.Init.AutoReloadPreload = TIM_AUTORELOAD_PRELOAD_ENABLE;
  if (HAL_TIM_Base_Init(&htim2) != HAL_OK)
  {
    Error_Handler();
  }
  sClockSourceConfig.ClockSource = TIM_CLOCKSOURCE_INTERNAL;
  if (HAL_TIM_ConfigClockSource(&htim2, &sClockSourceConfig) != HAL_OK)
  {
    Error_Handler();
  }
  if (HAL_TIM_PWM_Init(&htim2) != HAL_OK)
  {
    Error_Handler();
  }
  sMasterConfig.MasterOutputTrigger = TIM_TRGO_RESET;
  sMasterConfig.MasterSlaveMode = TIM_MASTERSLAVEMODE_DISABLE;
  if (HAL_TIMEx_MasterConfigSynchronization(&htim2, &sMasterConfig) != HAL_OK)
  {
    Error_Handler();
  }
  sConfigOC.OCMode = TIM_OCMODE_PWM1;
  sConfigOC.Pulse = 0;
  sConfigOC.OCPolarity = TIM_OCPOLARITY_HIGH;
  sConfigOC.OCFastMode = TIM_OCFAST_DISABLE;
  if (HAL_TIM_PWM_ConfigChannel(&htim2, &sConfigOC, TIM_CHANNEL_1) != HAL_OK)
  {
    Error_Handler();
  }
  HAL_TIM_MspPostInit(&htim2);

}

static void MX_TIM3_Init(void)
{

  TIM_ClockConfigTypeDef sClockSourceConfig = {0};
  TIM_MasterConfigTypeDef sMasterConfig = {0};
  TIM_OC_InitTypeDef sConfigOC = {0};

  htim3.Instance = TIM3;
  htim3.Init.Prescaler = 16-1;
  htim3.Init.CounterMode = TIM_COUNTERMODE_UP;
  htim3.Init.Period = 2000-1;
  htim3.Init.ClockDivision = TIM_CLOCKDIVISION_DIV1;
  htim3.Init.AutoReloadPreload = TIM_AUTORELOAD_PRELOAD_ENABLE;
  if (HAL_TIM_Base_Init(&htim3) != HAL_OK)
  {
    Error_Handler();
  }
  sClockSourceConfig.ClockSource = TIM_CLOCKSOURCE_INTERNAL;
  if (HAL_TIM_ConfigClockSource(&htim3, &sClockSourceConfig) != HAL_OK)
  {
    Error_Handler();
  }
  if (HAL_TIM_PWM_Init(&htim3) != HAL_OK)
  {
    Error_Handler();
  }
  sMasterConfig.MasterOutputTrigger = TIM_TRGO_RESET;
  sMasterConfig.MasterSlaveMode = TIM_MASTERSLAVEMODE_DISABLE;
  if (HAL_TIMEx_MasterConfigSynchronization(&htim3, &sMasterConfig) != HAL_OK)
  {
    Error_Handler();
  }
  sConfigOC.OCMode = TIM_OCMODE_PWM1;
  sConfigOC.Pulse = 1200-1;
  sConfigOC.OCPolarity = TIM_OCPOLARITY_HIGH;
  sConfigOC.OCFastMode = TIM_OCFAST_DISABLE;
  if (HAL_TIM_PWM_ConfigChannel(&htim3, &sConfigOC, TIM_CHANNEL_1) != HAL_OK)
  {
    Error_Handler();
  }
  sConfigOC.Pulse = 0;
  if (HAL_TIM_PWM_ConfigChannel(&htim3, &sConfigOC, TIM_CHANNEL_3) != HAL_OK)
  {
    Error_Handler();
  }
  HAL_TIM_MspPostInit(&htim3);

}

static void MX_TIM4_Init(void)
{

  TIM_ClockConfigTypeDef sClockSourceConfig = {0};
  TIM_MasterConfigTypeDef sMasterConfig = {0};
  TIM_IC_InitTypeDef sConfigIC = {0};

  htim4.Instance = TIM4;
  htim4.Init.Prescaler = 16-1;
  htim4.Init.CounterMode = TIM_COUNTERMODE_UP;
  htim4.Init.Period = 65536-1;
  htim4.Init.ClockDivision = TIM_CLOCKDIVISION_DIV1;
  htim4.Init.AutoReloadPreload = TIM_AUTORELOAD_PRELOAD_DISABLE;
  if (HAL_TIM_Base_Init(&htim4) != HAL_OK)
  {
    Error_Handler();
  }
  sClockSourceConfig.ClockSource = TIM_CLOCKSOURCE_INTERNAL;
  if (HAL_TIM_ConfigClockSource(&htim4, &sClockSourceConfig) != HAL_OK)
  {
    Error_Handler();
  }
  if (HAL_TIM_IC_Init(&htim4) != HAL_OK)
  {
    Error_Handler();
  }
  sMasterConfig.MasterOutputTrigger = TIM_TRGO_RESET;
  sMasterConfig.MasterSlaveMode = TIM_MASTERSLAVEMODE_DISABLE;
  if (HAL_TIMEx_MasterConfigSynchronization(&htim4, &sMasterConfig) != HAL_OK)
  {
    Error_Handler();
  }
  sConfigIC.ICPolarity = TIM_INPUTCHANNELPOLARITY_BOTHEDGE;
  sConfigIC.ICSelection = TIM_ICSELECTION_DIRECTTI;
  sConfigIC.ICPrescaler = TIM_ICPSC_DIV1;
  sConfigIC.ICFilter = 0;
  if (HAL_TIM_IC_ConfigChannel(&htim4, &sConfigIC, TIM_CHANNEL_4) != HAL_OK)
  {
    Error_Handler();
  }

}

static void MX_TIM5_Init(void)
{

  TIM_ClockConfigTypeDef sClockSourceConfig = {0};
  TIM_MasterConfigTypeDef sMasterConfig = {0};

  htim5.Instance = TIM5;
  htim5.Init.Prescaler = 16000-1;
  htim5.Init.CounterMode = TIM_COUNTERMODE_UP;
  htim5.Init.Period = 12000-1;
  htim5.Init.ClockDivision = TIM_CLOCKDIVISION_DIV1;
  htim5.Init.AutoReloadPreload = TIM_AUTORELOAD_PRELOAD_ENABLE;
  if (HAL_TIM_Base_Init(&htim5) != HAL_OK)
  {
    Error_Handler();
  }
  sClockSourceConfig.ClockSource = TIM_CLOCKSOURCE_INTERNAL;
  if (HAL_TIM_ConfigClockSource(&htim5, &sClockSourceConfig) != HAL_OK)
  {
    Error_Handler();
  }
  sMasterConfig.MasterOutputTrigger = TIM_TRGO_RESET;
  sMasterConfig.MasterSlaveMode = TIM_MASTERSLAVEMODE_DISABLE;
  if (HAL_TIMEx_MasterConfigSynchronization(&htim5, &sMasterConfig) != HAL_OK)
  {
    Error_Handler();
  }

}

static void MX_USART2_UART_Init(void)
{

  huart2.Instance = USART2;
  huart2.Init.BaudRate = 115200;
  huart2.Init.WordLength = UART_WORDLENGTH_8B;
  huart2.Init.StopBits = UART_STOPBITS_1;
  huart2.Init.Parity = UART_PARITY_NONE;
  huart2.Init.Mode = UART_MODE_TX_RX;
  huart2.Init.HwFlowCtl = UART_HWCONTROL_NONE;
  huart2.Init.OverSampling = UART_OVERSAMPLING_16;
  if (HAL_UART_Init(&huart2) != HAL_OK)
  {
    Error_Handler();
  }

}

static void MX_GPIO_Init(void)
{
  GPIO_InitTypeDef GPIO_InitStruct = {0};

  /* GPIO Ports Clock Enable */
  __HAL_RCC_GPIOC_CLK_ENABLE();
  __HAL_RCC_GPIOH_CLK_ENABLE();
  __HAL_RCC_GPIOA_CLK_ENABLE();
  __HAL_RCC_GPIOB_CLK_ENABLE();
  __HAL_RCC_GPIOD_CLK_ENABLE();

  /*Configure GPIO pin Output Level */
  HAL_GPIO_WritePin(GPIOA, LD2_Pin|DIGIT_A3_Pin|DIGIT_A2_Pin|DIGIT_A1_Pin
                          |DIGIT_A0_Pin, GPIO_PIN_RESET);

  /*Configure GPIO pin Output Level */
  HAL_GPIO_WritePin(GPIOB, DIGIT_B1_Pin|DIGIT_B2_Pin|DIGIT_B3_Pin|DIGIT_B0_Pin
                          |HCSR04_TRIG_Pin, GPIO_PIN_RESET);

  /*Configure GPIO pin Output Level */
  HAL_GPIO_WritePin(GPIOC, RED_Pin|GREEN_Pin, GPIO_PIN_RESET);

  /*Configure GPIO pin Output Level */
  HAL_GPIO_WritePin(BLUE_GPIO_Port, BLUE_Pin, GPIO_PIN_RESET);

  /*Configure GPIO pin : B1_Pin */
  GPIO_InitStruct.Pin = B1_Pin;
  GPIO_InitStruct.Mode = GPIO_MODE_IT_FALLING;
  GPIO_InitStruct.Pull = GPIO_NOPULL;
  HAL_GPIO_Init(B1_GPIO_Port, &GPIO_InitStruct);

  /*Configure GPIO pins : LD2_Pin DIGIT_A3_Pin DIGIT_A2_Pin DIGIT_A1_Pin
                           DIGIT_A0_Pin */
  GPIO_InitStruct.Pin = LD2_Pin|DIGIT_A3_Pin|DIGIT_A2_Pin|DIGIT_A1_Pin
                          |DIGIT_A0_Pin;
  GPIO_InitStruct.Mode = GPIO_MODE_OUTPUT_PP;
  GPIO_InitStruct.Pull = GPIO_NOPULL;
  GPIO_InitStruct.Speed = GPIO_SPEED_FREQ_LOW;
  HAL_GPIO_Init(GPIOA, &GPIO_InitStruct);

  /*Configure GPIO pin : RPM_TICK_Pin */
  GPIO_InitStruct.Pin = RPM_TICK_Pin;
  GPIO_InitStruct.Mode = GPIO_MODE_IT_RISING;
  GPIO_InitStruct.Pull = GPIO_NOPULL;
  HAL_GPIO_Init(RPM_TICK_GPIO_Port, &GPIO_InitStruct);

  /*Configure GPIO pins : DIGIT_B1_Pin DIGIT_B2_Pin DIGIT_B3_Pin DIGIT_B0_Pin
                           HCSR04_TRIG_Pin */
  GPIO_InitStruct.Pin = DIGIT_B1_Pin|DIGIT_B2_Pin|DIGIT_B3_Pin|DIGIT_B0_Pin
                          |HCSR04_TRIG_Pin;
  GPIO_InitStruct.Mode = GPIO_MODE_OUTPUT_PP;
  GPIO_InitStruct.Pull = GPIO_NOPULL;
  GPIO_InitStruct.Speed = GPIO_SPEED_FREQ_LOW;
  HAL_GPIO_Init(GPIOB, &GPIO_InitStruct);

  /*Configure GPIO pins : RED_Pin GREEN_Pin */
  GPIO_InitStruct.Pin = RED_Pin|GREEN_Pin;
  GPIO_InitStruct.Mode = GPIO_MODE_OUTPUT_PP;
  GPIO_InitStruct.Pull = GPIO_NOPULL;
  GPIO_InitStruct.Speed = GPIO_SPEED_FREQ_LOW;
  HAL_GPIO_Init(GPIOC, &GPIO_InitStruct);

  /*Configure GPIO pin : BLUE_Pin */
  GPIO_InitStruct.Pin = BLUE_Pin;
  GPIO_InitStruct.Mode = GPIO_MODE_OUTPUT_PP;
  GPIO_InitStruct.Pull = GPIO_NOPULL;
  GPIO_InitStruct.Speed = GPIO_SPEED_FREQ_LOW;
  HAL_GPIO_Init(BLUE_GPIO_Port, &GPIO_InitStruct);

  /* EXTI interrupt init*/
  HAL_NVIC_SetPriority(EXTI2_IRQn, 0, 0);
  HAL_NVIC_EnableIRQ(EXTI2_IRQn);

  HAL_NVIC_SetPriority(EXTI15_10_IRQn, 0, 0);
  HAL_NVIC_EnableIRQ(EXTI15_10_IRQn);

}

/* USER CODE BEGIN 4 */
void HAL_UART_RxCpltCallback(UART_HandleTypeDef *huart) {
	if (huart -> Instance == USART2) {
		HAL_UART_Transmit(&huart2, &byte, 1, 100);
		rcv_intv_flag = 1;
	}
}

void HAL_TIM_IC_CaptureCallback(TIM_HandleTypeDef *htim)
{
    if (htim->Instance == TIM4)
    {
        if (htim->Channel == HAL_TIM_ACTIVE_CHANNEL_4)
        {
            if (first_edge == 0)
            {
                time_edge1 = HAL_TIM_ReadCapturedValue(htim, TIM_CHANNEL_4);
                first_edge = 1;
            }
            else
            {
                time_edge2 = HAL_TIM_ReadCapturedValue(htim, TIM_CHANNEL_4);
                __HAL_TIM_SET_COUNTER(htim, 0);
                hcsr04_Rx_flag = 1;
            }
        }
    }
}

void HAL_TIM_PeriodElapsedCallback(TIM_HandleTypeDef *htim)
{
    if (htim->Instance == TIM5)
    {
    	clock_hours++;
        wall_clock_hr_update_flag = 1; // trigger display update

    }
}

void HAL_GPIO_EXTI_Callback(uint16_t GPIO_Pin)
{
    if (GPIO_Pin == RPM_TICK_Pin)
    {
        rpm_tick_count++;
    }
}

/* USER CODE END 4 */

void Error_Handler(void)
{
  __disable_irq();
  while (1)
  {
  }
}
